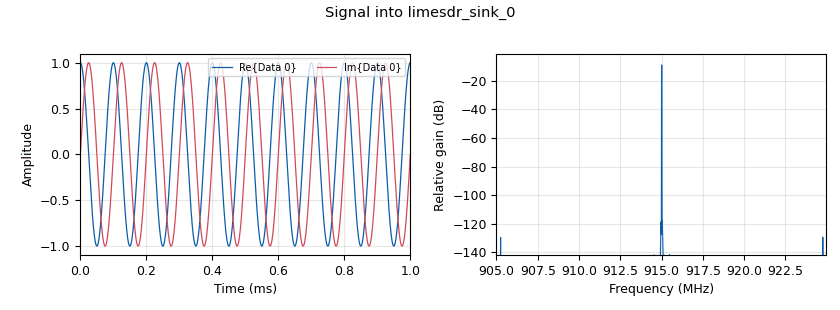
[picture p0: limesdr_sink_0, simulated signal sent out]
options:
  parameters:
    author: RAAM
    generate_options: qt_gui
    id: QPSK_TX
    output_language: python
    title: QPSK_TX
  states: {}

blocks:
- name: center_freq
  id: variable
  parameters:
    value: 915e6
  states: {}
- name: freq
  id: variable_qtgui_range
  parameters:
    start: '500000000'
    step: '1000000'
    stop: '4000000000'
    value: '915000000'
  states: {}
- name: samp_rate
  id: variable
  parameters:
    value: 20e6
  states: {}
- name: selector
  id: variable_qtgui_check_box
  parameters:
    'false': '0'
    label: selector
    'true': '1'
    type: int
    value: '1'
  states: {}
- name: sps
  id: variable
  parameters:
    value: '1000'
  states: {}
- name: symbols
  id: variable
  parameters:
    comment: |-
      need diagonals to use
      Constellation Decoder
    value: '[-1-1j, -1+1j, 1+1j, 1-1j]'
  states: {}
- name: tx_gain
  id: variable_qtgui_range
  parameters:
    label: TX GAIN
    start: '10'
    step: '1'
    stop: '64'
    value: '60'
  states: {}
- name: analog_sig_source_x_0
  id: analog_sig_source_x
  parameters:
    amp: '1'
    freq: '10000'
    offset: '0'
    phase: '0'
    samp_rate: samp_rate
    type: complex
    waveform: analog.GR_SIN_WAVE
  states: {}
- name: analog_sig_source_x_0_0
  id: analog_sig_source_x
  parameters:
    amp: '1'
    freq: '1000'
    offset: '0'
    phase: '0'
    samp_rate: samp_rate
    type: complex
    waveform: analog.GR_SQR_WAVE
  states: {state: disabled}
- name: blocks_multiply_const_vxx_0
  id: blocks_multiply_const_vxx
  parameters:
    const: '0'
    type: complex
  states: {state: disabled}
- name: blocks_null_source_0
  id: blocks_null_source
  parameters:
    type: complex
  states: {state: disabled}
- name: limesdr_sink_0
  id: limesdr_sink
  parameters:
    allow_tcxo_dac: '0'
    calibr_bandw_ch0: 5e6
    calibr_bandw_ch1: 5e6
    channel_mode: '0'
    dacVal: '125'
    digital_bandw_ch0: '0'
    digital_bandw_ch1: '0'
    gain_dB_ch0: '60'
    gain_dB_ch1: '60'
    oversample: '0'
    pa_path_ch0: '1'
    pa_path_ch1: '1'
    rf_freq: freq
    samp_rate: samp_rate
  states: {}
- name: limesdr_source_0
  id: limesdr_source
  parameters:
    allow_tcxo_dac: '0'
    analog_bandw_ch0: 5e6
    analog_bandw_ch1: 5e6
    calibr_bandw_ch0: 5e6
    calibr_bandw_ch1: 5e6
    channel_mode: '0'
    dacVal: '125'
    digital_bandw_ch0: '0'
    digital_bandw_ch1: '0'
    gain_dB_ch0: '60'
    gain_dB_ch1: '60'
    lna_path_ch0: '3'
    lna_path_ch1: '3'
    oversample: '0'
    rf_freq: freq
    samp_rate: samp_rate
  states: {}
- name: qtgui_sink_x_0
  id: qtgui_sink_x
  parameters:
    bw: samp_rate
    fc: freq
    fftsize: '2048'
    showrf: 'True'
    type: complex
  states: {state: disabled}
- name: qtgui_sink_x_0_0
  id: qtgui_sink_x
  parameters:
    bw: samp_rate
    fc: freq
    fftsize: '2048'
    showrf: 'True'
    type: complex
  states: {state: disabled}
- name: qtgui_time_sink_x_0_0
  id: qtgui_time_sink_x
  parameters:
    autoscale: 'True'
    marker1: '0'
    marker2: '0'
    size: 1024*8
    srate: samp_rate
    type: complex
  states: {}
- name: qtgui_time_sink_x_0_0_0
  id: qtgui_time_sink_x
  parameters:
    autoscale: 'True'
    marker1: '0'
    marker2: '0'
    size: 1024*8
    srate: samp_rate
    type: complex
  states: {state: disabled}
- name: qtgui_time_sink_x_0_0_1
  id: qtgui_time_sink_x
  parameters:
    autoscale: 'True'
    marker1: '0'
    marker2: '0'
    size: 1024*8
    srate: samp_rate
    type: complex
  states: {state: disabled}
- name: qtgui_time_sink_x_0_0_1_0
  id: qtgui_time_sink_x
  parameters:
    autoscale: 'True'
    marker1: '0'
    marker2: '0'
    size: 1024*8
    srate: samp_rate
    type: complex
  states: {state: disabled}
- name: soapy_limesdr_source_0
  id: soapy_limesdr_source
  parameters:
    center_freq: freq
    gain: '60.0'
    samp_rate: samp_rate
    type: fc32
  states: {state: disabled}

connections:
- [analog_sig_source_x_0, '0', blocks_multiply_const_vxx_0, '0']
- [analog_sig_source_x_0, '0', limesdr_sink_0, '0']
- [analog_sig_source_x_0, '0', qtgui_time_sink_x_0_0_1, '0']
- [analog_sig_source_x_0_0, '0', qtgui_time_sink_x_0_0_1_0, '0']
- [limesdr_source_0, '0', qtgui_sink_x_0, '0']
- [limesdr_source_0, '0', qtgui_time_sink_x_0_0, '0']
- [soapy_limesdr_source_0, '0', qtgui_sink_x_0, '0']

metadata:
  file_format: 1
